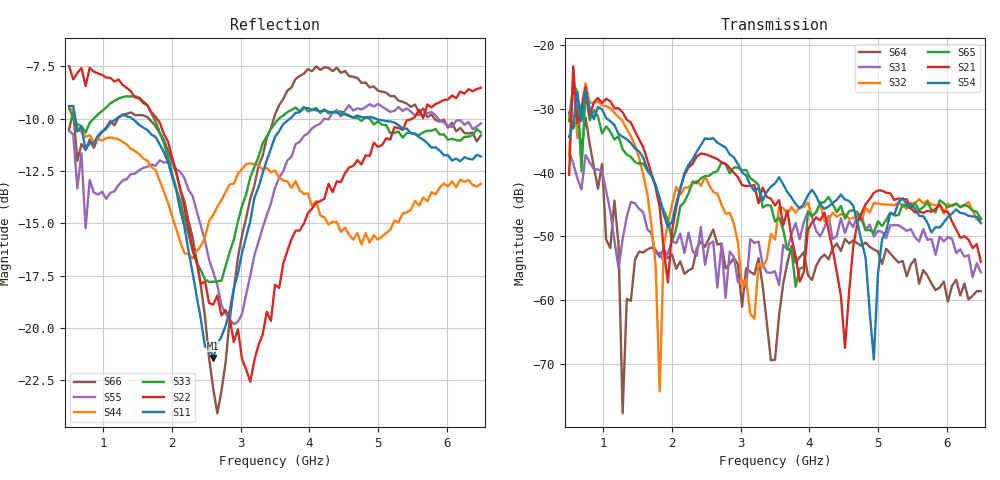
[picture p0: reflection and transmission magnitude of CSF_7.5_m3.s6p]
!Keysight Technologies,M9804A,MY58100912,A.14.10.03
!Date: Thursday, April 27, 2023 10:28:33
!Correction: S11(C  6-Port  )
!S12(C  6-Port  )
!S13(C  6-Port  )
!S14(C  6-Port  )
!S15(C  6-Port  )
!S16(C  6-Port  )
!S21(C  6-Port  )
!S22(C  6-Port  )
!S23(C  6-Port  )
!S24(C  6-Port  )
!S25(C  6-Port  )
!S26(C  6-Port  )
!S31(C  6-Port  )
!S32(C  6-Port  )
!S33(C  6-Port  )
!S34(C  6-Port  )
!S35(C  6-Port  )
!S36(C  6-Port  )
!S41(C  6-Port  )
!S42(C  6-Port  )
!S43(C  6-Port  )
!S44(C  6-Port  )
!S45(C  6-Port  )
!S46(C  6-Port  )
!S51(C  6-Port  )
!S52(C  6-Port  )
!S53(C  6-Port  )
!S54(C  6-Port  )
!S55(C  6-Port  )
!S56(C  6-Port  )
!S61(C  6-Port  )
!S62(C  6-Port  )
!S63(C  6-Port  )
!S64(C  6-Port  )
!S65(C  6-Port  )
!S66(C  6-Port  )
!S6P File: Measurement: :
# Hz S  RI  R 50
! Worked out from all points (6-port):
!   101 points, 500 MHz to 6.5 GHz, reference 50 ohm
!   strongest paths, dB at 500 MHz, 2 GHz, 3.5 GHz, 5 GHz, 6.5 GHz:
!     S54: -34.4, -47.7, -41.7, -55.9, -48.0
!     S21: -40.4, -49.1, -45.2, -42.8, -54.0
!     S65: -31.9, -50.9, -47.7, -47.7, -47.3
!     S32: -37.3, -45.0, -50.5, -44.9, -47.1
!     S31: -36.8, -50.8, -55.5, -49.2, -55.7
!     S64: -30.6, -52.9, -69.4, -52.4, -58.6
!   lowest |S11| = -21.4 dB at 2.6 GHz (marker M1), VSWR 1.19, Z = 42.5 + j2.24 ohm
!   |S11| at or under -10 dB: 590.3 MHz to 1.189 GHz (598.7 MHz wide, 67.3 % of centre); 1.424 GHz to 3.715 GHz (2.291 GHz wide, 89.2 % of centre); 4.974 GHz to end of sweep
